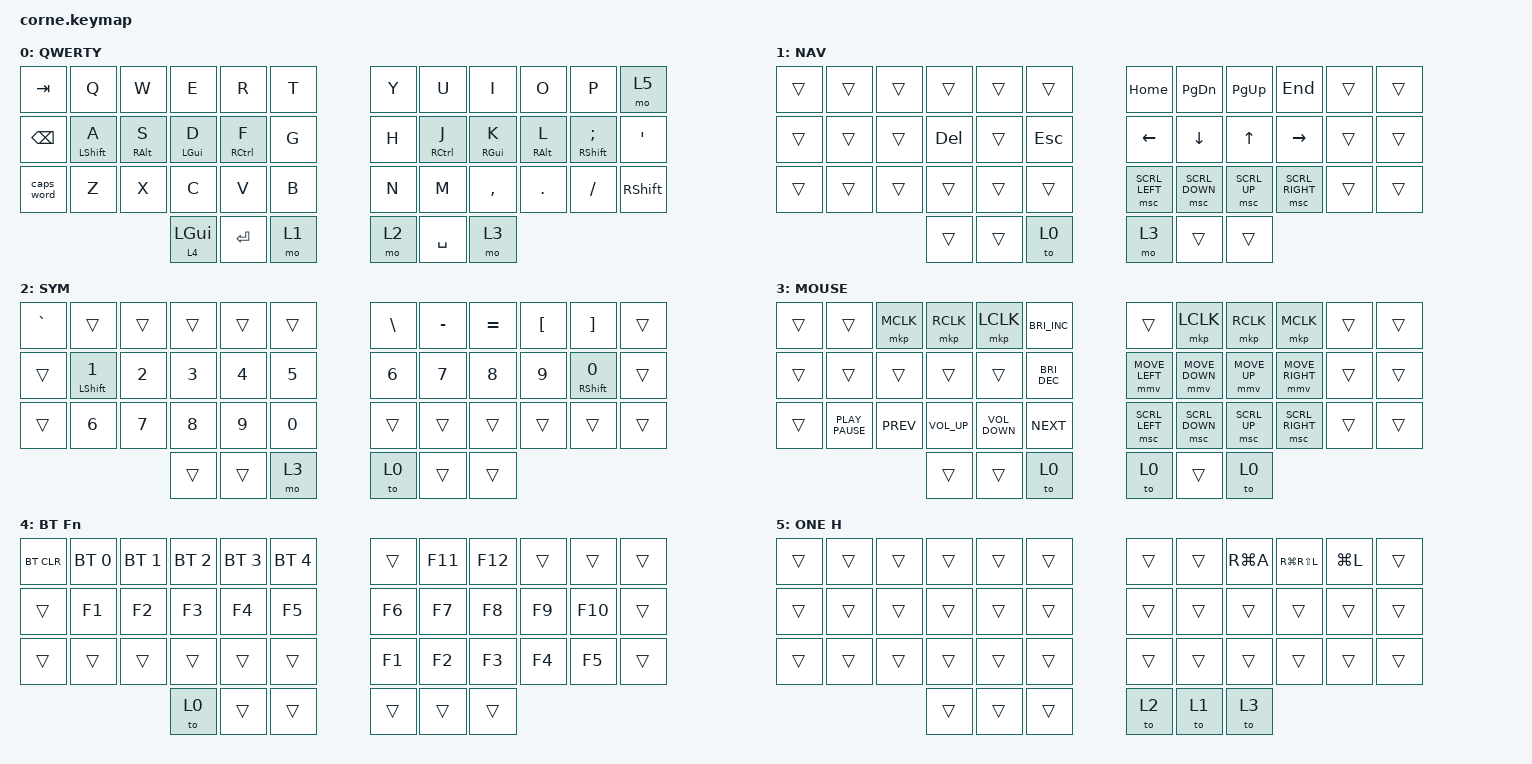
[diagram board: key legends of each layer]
/*
 * Copyright (c) 2020 The ZMK Contributors
 *
 * SPDX-License-Identifier: MIT
 */
// Allow for mouse control

#define ZMK_POINTING_DEFAULT_MOVE_VAL 1500  // default: 600
#define ZMK_POINTING_DEFAULT_SCRL_VAL 1000    // default: 10

#include <behaviors.dtsi>
#include <dt-bindings/zmk/bt.h>
#include <dt-bindings/zmk/keys.h>
#include <dt-bindings/zmk/pointing.h>

// To further tweak mouse movement

&mmv {
    x-input-code = <INPUT_REL_X>;
    y-input-code = <INPUT_REL_Y>;
    time-to-max-speed-ms = <500>;
    acceleration-exponent = <1>;
};

&msc {
    x-input-code = <INPUT_REL_HWHEEL>;
    y-input-code = <INPUT_REL_WHEEL>;
    time-to-max-speed-ms = <1000>;
    acceleration-exponent = <1>;
};

/ {
    behaviors {
        bhm: balanced_homerow_mods {
            compatible = "zmk,behavior-hold-tap";
            #binding-cells = <2>;
            tapping-term-ms = <150>;    // <---[[moderate duration]]
            quick-tap-ms = <0>;
            flavor = "balanced";
            bindings = <&kp>, <&kp>;
        };
    };

    keymap {
        compatible = "zmk,keymap";

        qwerty {
            display-name = "QWERTY";
            bindings = <
&kp TAB     &kp Q              &kp W             &kp E        &kp R         &kp T    &kp Y  &kp U         &kp I        &kp O             &kp P                       &mo 5
&kp BSPC    &bhm LEFT_SHIFT A  &bhm RIGHT_ALT S  &bhm LGUI D  &bhm RCTRL F  &kp G    &kp H  &bhm RCTRL J  &bhm RGUI K  &bhm RIGHT_ALT L  &bhm RIGHT_SHIFT SEMICOLON  &kp SQT
&caps_word  &kp Z              &kp X             &kp C        &kp V         &kp B    &kp N  &kp M         &kp COMMA    &kp DOT           &kp FSLH                    &kp RSHFT
                                                 &lt 4 LGUI   &kp RET       &mo 1    &mo 2  &kp SPACE     &mo 3
            >;
        };

        nav {
            display-name = "NAV";
            bindings = <
&trans  &trans  &trans  &trans   &trans  &trans     &kp HOME        &kp PG_DN       &kp PG_UP     &kp END          &trans  &trans
&trans  &trans  &trans  &kp DEL  &trans  &kp ESC    &kp LEFT        &kp DOWN        &kp UP        &kp RIGHT        &trans  &trans
&trans  &trans  &trans  &trans   &trans  &trans     &msc SCRL_LEFT  &msc SCRL_DOWN  &msc SCRL_UP  &msc SCRL_RIGHT  &trans  &trans
                              &trans     &trans     &to 0      &mo 3           &trans          &trans
            >;
        };

        sym {
            display-name = "SYM";
            bindings = <
&kp GRAVE  &trans                    &trans  &trans  &trans  &trans    &kp BSLH  &kp MINUS  &kp EQUAL  &kp LBKT  &kp RBKT                   &trans
&trans     &bhm LEFT_SHIFT NUMBER_1  &kp N2  &kp N3  &kp N4  &kp N5    &kp N6    &kp N7     &kp N8     &kp N9    &bhm RIGHT_SHIFT NUMBER_0  &trans
&trans     &kp N6                    &kp N7  &kp N8  &kp N9  &kp N0    &trans    &trans     &trans     &trans    &trans                     &trans
                                             &trans  &trans  &mo 3     &to 0     &trans     &trans
            >;
        };

        mouse {
            display-name = "MOUSE";
            bindings = <
&trans  &trans            &mkp MCLK   &mkp RCLK        &mkp LCLK          &kp C_BRIGHTNESS_INC    &trans          &mkp LCLK       &mkp RCLK     &mkp MCLK        &trans  &trans
&trans  &trans            &trans      &trans           &trans             &kp C_BRIGHTNESS_DEC    &mmv MOVE_LEFT  &mmv MOVE_DOWN  &mmv MOVE_UP  &mmv MOVE_RIGHT  &trans  &trans
&trans  &kp K_PLAY_PAUSE  &kp K_PREV  &kp K_VOLUME_UP  &kp K_VOLUME_DOWN  &kp K_NEXT              &msc SCRL_LEFT  &msc SCRL_DOWN  &msc SCRL_UP  &msc SCRL_RIGHT  &trans  &trans
                                      &trans           &trans             &to 0                   &to 0           &trans          &to 0
            >;
        };

        bt_fun {
            display-name = "BT Fn";
            bindings = <
&bt BT_CLR  &bt BT_SEL 0  &bt BT_SEL 1  &bt BT_SEL 2  &bt BT_SEL 3  &bt BT_SEL 4    &trans  &kp F11  &kp F12  &trans  &trans   &trans
&trans      &kp F1        &kp F2        &kp F3        &kp F4        &kp F5          &kp F6  &kp F7   &kp F8   &kp F9  &kp F10  &trans
&trans      &trans        &trans        &trans        &trans        &trans          &kp F1  &kp F2   &kp F3   &kp F4  &kp F5   &trans
                                        &to 0         &trans        &trans          &trans  &trans   &trans
            >;
        };

        one_hand {
            display-name = "ONE H";
            bindings = <
&trans  &trans  &trans  &trans  &trans  &trans    &trans  &trans  &kp RG(A)  &kp RG(RS(L))  &kp LG(L)  &trans
&trans  &trans  &trans  &trans  &trans  &trans    &trans  &trans  &trans     &trans         &trans     &trans
&trans  &trans  &trans  &trans  &trans  &trans    &trans  &trans  &trans     &trans         &trans     &trans
                        &trans  &trans  &trans    &to 2   &to 1   &to 3
            >;
        };
    };
};
